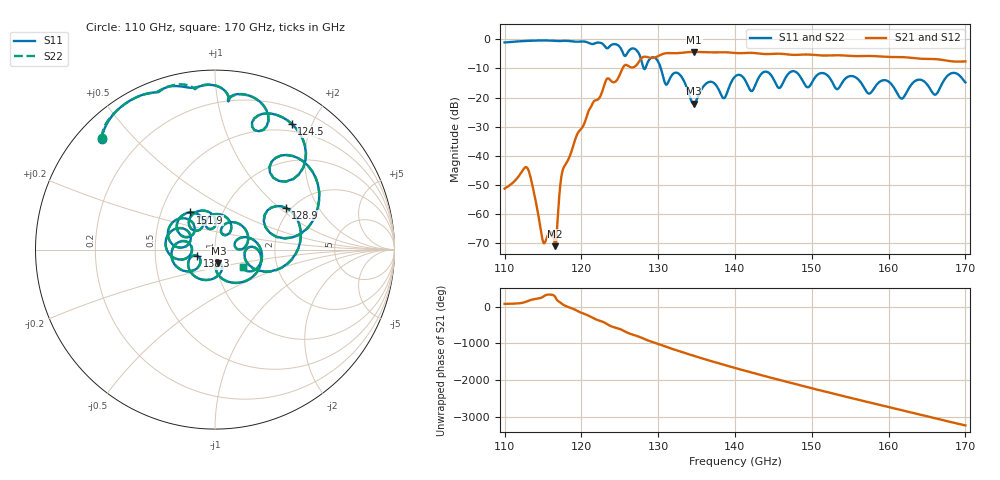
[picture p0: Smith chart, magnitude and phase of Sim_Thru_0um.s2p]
! Touchstone file exported from HFSS 2020.2.4
!  File:  D:/Project/Deacon_v3/240214_MPW12_Gap_WG_Tester_D2A/Gap_WG_Tester_D2.aedt
!  Generated:  11:45:36 AM  Mar 20, 2025
!  Design:  Thru
!  Project:  Gap_WG_Tester_D2
!  Setup:  Setup1
!  Solution:  Sweep
! Variables:
!  C_G = 0um
!  C_H = 0.5mm
!  E_P = 133um
!  S_H1 = 260um
!  S_H2 = 13um
!  S_H3 = 8um
!  S_X = 30mm
!  S_X0 = 15mm
!  S_Y = 15mm
!  S_Y0 = 7.5mm
!  TL_G = 40um
!  TL_L = 9.64678486627962mm
!  TL_W = 240um
!  TR_L = 706.43026744077um
!  TR_L2 = 226.8691264263um
!  TR_L3 = 373.29154801399um
!  TR_P = 109.62537243288um
!  TR_W = 1597.2041747747um
!  TR_W2 = 282.226541747um
!  V_PBO = 20um
!  V_Pad = 40um
!  V_R = 20um
!  WG_L = 0.8255mm
!  WG_W = 1.651mm
!  th = 5um
!Data is not renormalized
# GHZ S MA
! Terminal data exported
! Port[1] = 1
! Port[2] = 2
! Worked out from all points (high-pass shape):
!   601 points, 110 GHz to 170 GHz, reference per port
!   highest |S21| = -4.33 dB at 134.7 GHz (marker M1); lowest = -71.0 dB at 116.6 GHz (marker M2)
!   |S21| within 3 dB of the highest: 127.6 GHz to 167.6 GHz (40.02 GHz wide, 27.1 % of centre)
!   lowest |S11| = -22.1 dB at 134.6 GHz (marker M3), VSWR 1.17
!   |S11| at or under -10 dB: 128.1239 GHz to 128.3054 GHz (181.5 MHz wide, 0.142 % of centre); 130.3 GHz to end of sweep
!   |S22| runs from -22.2 to -0.4 dB; largest |S21 - S12| = 1.2e-14
!   S11 on the Smith chart (normalised r, x): 110 GHz: 0.07, +0.41; 124.5 GHz: 0.40, +1.71; 128.9 GHz: 1.87, +1.11; 138.3 GHz: 0.82, -0.06; 151.9 GHz: 0.70, +0.31; 170 GHz: 1.34, -0.27
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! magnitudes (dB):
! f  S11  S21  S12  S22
! 110 GHz  -1.1  -51.3  -51.3  -1.1
! 112.9 GHz  -0.5  -44.0  -44.0  -0.5
! 115 GHz  -0.4  -69.5  -69.5  -0.4
! 116.6 GHz  -0.5  -71.0  -71.0  -0.5
! 117.6 GHz  -0.5  -44.6  -44.6  -0.5
! 120 GHz  -0.7  -30.6  -30.6  -0.7
! 124.5 GHz  -1.7  -14.4  -14.4  -1.7
! 128.9 GHz  -6.8  -6.3  -6.3  -6.8
! 130 GHz  -7.7  -5.8  -5.8  -7.7
! 134.6 GHz  -22.1  -4.3  -4.3  -22.2
! 134.7 GHz  -22.1  -4.3  -4.3  -22.1
! 136.6 GHz  -14.7  -4.5  -4.5  -14.7
! 138.3 GHz  -19.6  -4.4  -4.4  -19.6
! 140 GHz  -12.8  -4.7  -4.7  -12.8
! 150 GHz  -14.9  -5.3  -5.3  -15.0
! 151.9 GHz  -12.1  -5.6  -5.6  -12.1
! 160 GHz  -14.5  -6.1  -6.1  -14.6
! 161.7 GHz  -20.4  -6.1  -6.1  -20.5
! 163.8 GHz  -13.9  -6.6  -6.6  -13.9
! 166 GHz  -19.0  -6.8  -6.8  -18.9
! 168.1 GHz  -11.7  -7.5  -7.5  -11.7
! 170 GHz  -14.8  -7.6  -7.6  -14.7
